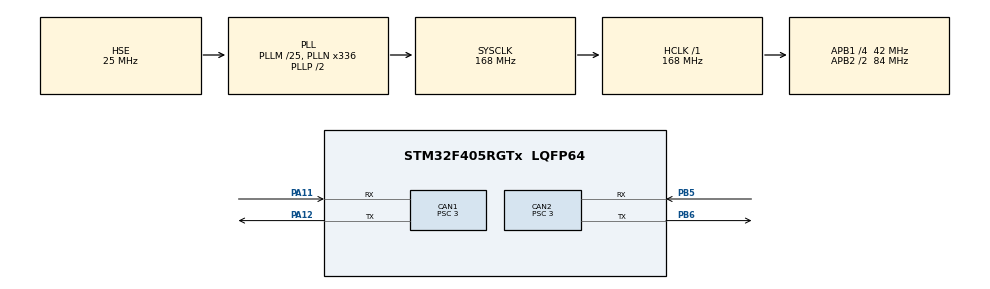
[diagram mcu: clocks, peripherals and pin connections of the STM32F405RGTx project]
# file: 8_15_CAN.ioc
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CAN1.AWUM=ENABLE
CAN1.BS1=CAN_BS1_9TQ
CAN1.BS2=CAN_BS2_4TQ
CAN1.CalculateBaudRate=1000000
CAN1.CalculateTimeBit=1000
CAN1.CalculateTimeQuantum=71.42857142857143
CAN1.Prescaler=3
CAN2.AWUM=ENABLE
CAN2.BS1=CAN_BS1_9TQ
CAN2.BS2=CAN_BS2_4TQ
CAN2.CalculateBaudRate=1000000
CAN2.CalculateTimeBit=1000
CAN2.CalculateTimeQuantum=71.42857142857143
CAN2.Mode=CAN_MODE_LOOPBACK
CAN2.Prescaler=3
Mcu.Family=STM32F4
Mcu.Name=STM32F405RGTx
Mcu.Package=LQFP64
NVIC.CAN1_RX0_IRQn=true\:0\:0\:false\:false\:true\:true\:true\:true
NVIC.CAN1_RX1_IRQn=true\:0\:0\:false\:false\:true\:true\:true\:true
NVIC.CAN1_TX_IRQn=true\:0\:0\:false\:false\:true\:true\:true\:true
NVIC.CAN2_RX0_IRQn=true\:0\:0\:false\:false\:true\:true\:true\:true
NVIC.CAN2_RX1_IRQn=true\:0\:0\:false\:false\:true\:true\:true\:true
NVIC.CAN2_TX_IRQn=true\:0\:0\:false\:false\:true\:true\:true\:true
NVIC.PriorityGroup=NVIC_PRIORITYGROUP_4
PA11.Mode=CAN_Activate
PA11.Signal=CAN1_RX
PA12.Mode=CAN_Activate
PA12.Signal=CAN1_TX
PB5.Mode=CAN_Activate
PB5.Signal=CAN2_RX
PB6.Mode=CAN_Activate
PB6.Signal=CAN2_TX
PH0-OSC_IN.Mode=HSE-External-Oscillator
PH0-OSC_IN.Signal=RCC_OSC_IN
PH1-OSC_OUT.Mode=HSE-External-Oscillator
PH1-OSC_OUT.Signal=RCC_OSC_OUT
ProjectManager.HeapSize=0x200
ProjectManager.StackSize=0x400
ProjectManager.TargetToolchain=MDK-ARM V5.32
RCC.48MHZClocksFreq_Value=84000000
RCC.AHBFreq_Value=168000000
RCC.APB1CLKDivider=RCC_HCLK_DIV4
RCC.APB1Freq_Value=42000000
RCC.APB1TimFreq_Value=84000000
RCC.APB2CLKDivider=RCC_HCLK_DIV2
RCC.APB2Freq_Value=84000000
RCC.APB2TimFreq_Value=168000000
RCC.CortexFreq_Value=168000000
RCC.HCLKFreq_Value=168000000
RCC.HSE_VALUE=25000000
RCC.HSI_VALUE=16000000
RCC.LSE_VALUE=32768
RCC.PLLM=25
RCC.PLLN=336
RCC.PLLSourceVirtual=RCC_PLLSOURCE_HSE
RCC.SYSCLKFreq_VALUE=168000000
RCC.SYSCLKSource=RCC_SYSCLKSOURCE_PLLCLK
RCC.VCOOutputFreq_Value=336000000
board=custom

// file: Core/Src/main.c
/* USER CODE BEGIN Header */
/**
  ******************************************************************************
  * @file           : main.c
  * @brief          : Main program body
  ******************************************************************************
  * @attention
  *
  * Copyright (c) 2025 STMicroelectronics.
  * All rights reserved.
  *
  * This software is licensed under terms that can be found in the LICENSE file
  * in the root directory of this software component.
  * If no LICENSE file comes with this software, it is provided AS-IS.
  *
  ******************************************************************************
  */
/* USER CODE END Header */
#include "main.h"
#include "can.h"
#include "gpio.h"

/* USER CODE BEGIN Includes */
#include "EventRecorder.h"
/* USER CODE END Includes */

void SystemClock_Config(void);

/* USER CODE BEGIN 0 */
uint8_t buff[8];
int flag = 0;
int can_num =0;
/* USER CODE END 0 */

int main(void)
{

  /* USER CODE BEGIN 1 */
	EventRecorderInitialize(EventRecordAll,1U);
	EventRecorderStart();
  /* USER CODE END 1 */

  /* MCU Configuration--------------------------------------------------------*/

  /* Reset of all peripherals, Initializes the Flash interface and the Systick. */
  HAL_Init();

  /* Configure the system clock */
  SystemClock_Config();

  /* Initialize all configured peripherals */
  MX_GPIO_Init();
  MX_CAN1_Init();
  MX_CAN2_Init();
  /* USER CODE BEGIN 2 */
  buff[0] = 'c';
  buff[1] = 'a';
  buff[2] = 'n';
  buff[3] = '2';
  buff[4] = ' ';
  buff[5] = 'm';
  buff[6] = 's';
  buff[7] = 'g';

  CAN_TxHeader.IDE = CAN_ID_STD;
  CAN_TxHeader.StdId = 0x009;//广播请求
  CAN_TxHeader.DLC = 8;
  CAN_TxHeader.RTR = CAN_RTR_DATA;

	printf("Init OK\r\n");
  /* USER CODE END 2 */

  /* Infinite loop */
  while (1)
  {

    /* USER CODE BEGIN 3 */
		switch(flag) {
			case 0:
				CAN_TxHeader.IDE = CAN_ID_STD;
				CAN_TxHeader.StdId = 0x009;//广播请求 2接收
				CAN_TxHeader.DLC = 8;
				CAN_TxHeader.RTR = CAN_RTR_DATA;
				break;
			case 1:
				CAN_TxHeader.IDE = CAN_ID_STD;
				CAN_TxHeader.StdId = 0x00A;//广播请求 1、2接收
				CAN_TxHeader.DLC = 8;
				CAN_TxHeader.RTR = CAN_RTR_DATA;
				break;
			case 2:
				CAN_TxHeader.IDE = CAN_ID_STD;
				CAN_TxHeader.StdId = 0x0CE;//广播请求 1、2接收
				CAN_TxHeader.DLC = 8;
				CAN_TxHeader.RTR = CAN_RTR_DATA;
				break;
			case 3:
				CAN_TxHeader.IDE = CAN_ID_STD;
				CAN_TxHeader.StdId = 0x1CF;//广播请求 2接收
				CAN_TxHeader.DLC = 8;
				CAN_TxHeader.RTR = CAN_RTR_DATA;
				break;
			case 4:
				CAN_TxHeader.IDE = CAN_ID_EXT;
				CAN_TxHeader.ExtId = 0x01020401;//广播请求 1、2接收
				CAN_TxHeader.DLC = 8;
				CAN_TxHeader.RTR = CAN_RTR_DATA;
				break;
			case 5:
				CAN_TxHeader.IDE = CAN_ID_EXT;
				CAN_TxHeader.ExtId = 0x01020402;//广播请求 2接收
				CAN_TxHeader.DLC = 8;
				CAN_TxHeader.RTR = CAN_RTR_DATA;
				break;
			case 6:
				CAN_TxHeader.IDE = CAN_ID_EXT;
				CAN_TxHeader.ExtId = 0x01020F05;//广播请求 1、2接收
				CAN_TxHeader.DLC = 8;
				CAN_TxHeader.RTR = CAN_RTR_DATA;
				break;
			case 7:
				CAN_TxHeader.IDE = CAN_ID_EXT;
				CAN_TxHeader.ExtId = 0x01030F05;//广播请求 2接收
				CAN_TxHeader.DLC = 8;
				CAN_TxHeader.RTR = CAN_RTR_DATA;
				break;
			default:
				break;
		}

		switch (can_num){
			case 0:
				break;
			case 1:
				HAL_CAN_AddTxMessage(&hcan1,&CAN_TxHeader,buff,&TxMailbox);
				break;
			case 2:
				HAL_CAN_AddTxMessage(&hcan2,&CAN_TxHeader,buff,&TxMailbox);
				break;
			default:
				break;
		}
		HAL_Delay(1500);
  /* USER CODE END 3 */
	}
}

void SystemClock_Config(void)
{
  RCC_OscInitTypeDef RCC_OscInitStruct = {0};
  RCC_ClkInitTypeDef RCC_ClkInitStruct = {0};

  /** Configure the main internal regulator output voltage
  */
  __HAL_RCC_PWR_CLK_ENABLE();
  __HAL_PWR_VOLTAGESCALING_CONFIG(PWR_REGULATOR_VOLTAGE_SCALE1);

  /** Initializes the RCC Oscillators according to the specified parameters
  * in the RCC_OscInitTypeDef structure.
  */
  RCC_OscInitStruct.OscillatorType = RCC_OSCILLATORTYPE_HSE;
  RCC_OscInitStruct.HSEState = RCC_HSE_ON;
  RCC_OscInitStruct.PLL.PLLState = RCC_PLL_ON;
  RCC_OscInitStruct.PLL.PLLSource = RCC_PLLSOURCE_HSE;
  RCC_OscInitStruct.PLL.PLLM = 25;
  RCC_OscInitStruct.PLL.PLLN = 336;
  RCC_OscInitStruct.PLL.PLLP = RCC_PLLP_DIV2;
  RCC_OscInitStruct.PLL.PLLQ = 4;
  if (HAL_RCC_OscConfig(&RCC_OscInitStruct) != HAL_OK)
  {
    Error_Handler();
  }

  /** Initializes the CPU, AHB and APB buses clocks
  */
  RCC_ClkInitStruct.ClockType = RCC_CLOCKTYPE_HCLK|RCC_CLOCKTYPE_SYSCLK
                              |RCC_CLOCKTYPE_PCLK1|RCC_CLOCKTYPE_PCLK2;
  RCC_ClkInitStruct.SYSCLKSource = RCC_SYSCLKSOURCE_PLLCLK;
  RCC_ClkInitStruct.AHBCLKDivider = RCC_SYSCLK_DIV1;
  RCC_ClkInitStruct.APB1CLKDivider = RCC_HCLK_DIV4;
  RCC_ClkInitStruct.APB2CLKDivider = RCC_HCLK_DIV2;

  if (HAL_RCC_ClockConfig(&RCC_ClkInitStruct, FLASH_LATENCY_5) != HAL_OK)
  {
    Error_Handler();
  }
}

void Error_Handler(void)
{
  __disable_irq();
  while (1)
  {
  }
}
